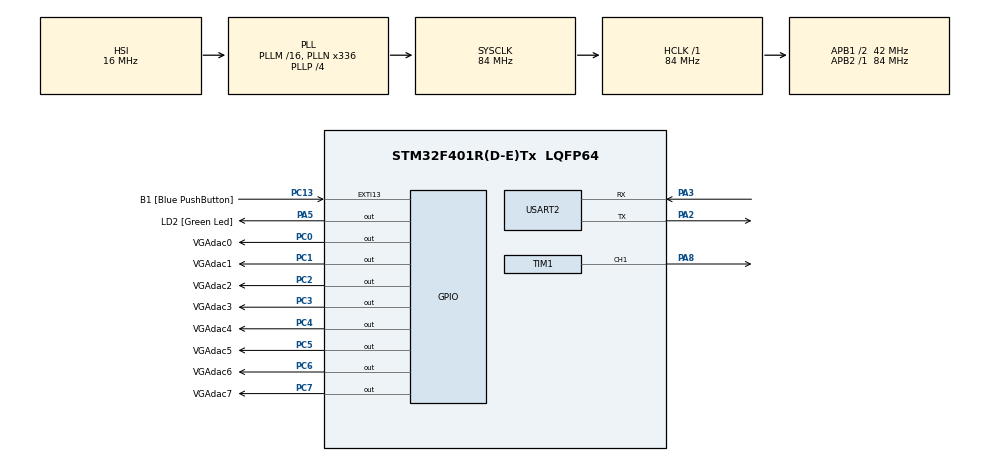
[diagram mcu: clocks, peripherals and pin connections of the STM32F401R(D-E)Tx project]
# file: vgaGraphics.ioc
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Dma.Request0=TIM1_UP
Dma.TIM1_UP.0.Direction=DMA_MEMORY_TO_PERIPH
Dma.TIM1_UP.0.FIFOMode=DMA_FIFOMODE_ENABLE
Dma.TIM1_UP.0.FIFOThreshold=DMA_FIFO_THRESHOLD_1QUARTERFULL
Dma.TIM1_UP.0.Instance=DMA2_Stream5
Dma.TIM1_UP.0.MemBurst=DMA_MBURST_SINGLE
Dma.TIM1_UP.0.MemDataAlignment=DMA_MDATAALIGN_WORD
Dma.TIM1_UP.0.MemInc=DMA_MINC_ENABLE
Dma.TIM1_UP.0.Mode=DMA_CIRCULAR
Dma.TIM1_UP.0.PeriphBurst=DMA_PBURST_SINGLE
Dma.TIM1_UP.0.PeriphDataAlignment=DMA_PDATAALIGN_BYTE
Dma.TIM1_UP.0.PeriphInc=DMA_PINC_DISABLE
Dma.TIM1_UP.0.Priority=DMA_PRIORITY_LOW
Mcu.Family=STM32F4
Mcu.Name=STM32F401R(D-E)Tx
Mcu.Package=LQFP64
NVIC.DMA2_Stream5_IRQn=true\:0\:0\:false\:false\:true\:false\:true\:true
NVIC.PriorityGroup=NVIC_PRIORITYGROUP_0
PA13.GPIO_Label=TMS
PA13.Mode=Serial_Wire
PA13.Signal=SYS_JTMS-SWDIO
PA14.GPIO_Label=TCK
PA14.Mode=Serial_Wire
PA14.Signal=SYS_JTCK-SWCLK
PA2.GPIO_Mode=GPIO_MODE_AF_PP
PA2.GPIO_ModeDefaultPP=GPIO_MODE_AF_PP
PA2.GPIO_PuPd=GPIO_NOPULL
PA2.GPIO_Speed=GPIO_SPEED_FREQ_VERY_HIGH
PA2.Mode=Asynchronous
PA2.Signal=USART2_TX
PA3.GPIO_Mode=GPIO_MODE_AF_PP
PA3.GPIO_ModeDefaultPP=GPIO_MODE_AF_PP
PA3.GPIO_PuPd=GPIO_NOPULL
PA3.GPIO_Speed=GPIO_SPEED_FREQ_VERY_HIGH
PA3.Mode=Asynchronous
PA3.Signal=USART2_RX
PA5.GPIO_Label=LD2 [Green Led]
PA5.GPIO_Mode=GPIO_MODE_OUTPUT_PP
PA5.GPIO_PuPd=GPIO_NOPULL
PA5.GPIO_Speed=GPIO_SPEED_FREQ_LOW
PA5.Signal=GPIO_Output
PA8.Signal=S_TIM1_CH1
PB3.GPIO_Label=SWO
PB3.Signal=SYS_JTDO-SWO
PC0.GPIO_Label=VGAdac0
PC0.GPIO_Speed=GPIO_SPEED_FREQ_VERY_HIGH
PC0.Signal=GPIO_Output
PC1.GPIO_Label=VGAdac1
PC1.GPIO_ModeDefaultOutputPP=GPIO_MODE_OUTPUT_PP
PC1.GPIO_PuPd=GPIO_NOPULL
PC1.GPIO_Speed=GPIO_SPEED_FREQ_VERY_HIGH
PC1.Signal=GPIO_Output
PC13-ANTI_TAMP.GPIO_Label=B1 [Blue PushButton]
PC13-ANTI_TAMP.GPIO_ModeDefaultEXTI=GPIO_MODE_IT_FALLING
PC13-ANTI_TAMP.GPIO_PuPd=GPIO_NOPULL
PC13-ANTI_TAMP.Signal=GPXTI13
PC14-OSC32_IN.Mode=LSE-External-Oscillator
PC14-OSC32_IN.Signal=RCC_OSC32_IN
PC15-OSC32_OUT.Mode=LSE-External-Oscillator
PC15-OSC32_OUT.Signal=RCC_OSC32_OUT
PC2.GPIO_Label=VGAdac2
PC2.GPIO_ModeDefaultOutputPP=GPIO_MODE_OUTPUT_PP
PC2.GPIO_PuPd=GPIO_NOPULL
PC2.GPIO_Speed=GPIO_SPEED_FREQ_VERY_HIGH
PC2.Signal=GPIO_Output
PC3.GPIO_Label=VGAdac3
PC3.GPIO_ModeDefaultOutputPP=GPIO_MODE_OUTPUT_PP
PC3.GPIO_PuPd=GPIO_NOPULL
PC3.GPIO_Speed=GPIO_SPEED_FREQ_VERY_HIGH
PC3.Signal=GPIO_Output
PC4.GPIO_Label=VGAdac4
PC4.GPIO_ModeDefaultOutputPP=GPIO_MODE_OUTPUT_PP
PC4.GPIO_PuPd=GPIO_NOPULL
PC4.GPIO_Speed=GPIO_SPEED_FREQ_VERY_HIGH
PC4.Signal=GPIO_Output
PC5.GPIO_Label=VGAdac5
PC5.GPIO_ModeDefaultOutputPP=GPIO_MODE_OUTPUT_PP
PC5.GPIO_PuPd=GPIO_NOPULL
PC5.GPIO_Speed=GPIO_SPEED_FREQ_VERY_HIGH
PC5.Signal=GPIO_Output
PC6.GPIO_Label=VGAdac6
PC6.GPIO_ModeDefaultOutputPP=GPIO_MODE_OUTPUT_PP
PC6.GPIO_PuPd=GPIO_NOPULL
PC6.GPIO_Speed=GPIO_SPEED_FREQ_VERY_HIGH
PC6.Signal=GPIO_Output
PC7.GPIO_Label=VGAdac7
PC7.GPIO_ModeDefaultOutputPP=GPIO_MODE_OUTPUT_PP
PC7.GPIO_PuPd=GPIO_NOPULL
PC7.GPIO_Speed=GPIO_SPEED_FREQ_VERY_HIGH
PC7.Signal=GPIO_Output
PH0\ -\ OSC_IN.Mode=HSE-External-Clock-Source
PH0\ -\ OSC_IN.Signal=RCC_OSC_IN
PH1\ -\ OSC_OUT.Mode=HSE-External-Clock-Source
PH1\ -\ OSC_OUT.Signal=RCC_OSC_OUT
ProjectManager.HeapSize=0x200
ProjectManager.StackSize=0x400
ProjectManager.TargetToolchain=STM32CubeIDE
RCC.48MHZClocksFreq_Value=48000000
RCC.AHBFreq_Value=84000000
RCC.APB1CLKDivider=RCC_HCLK_DIV2
RCC.APB1Freq_Value=42000000
RCC.APB1TimFreq_Value=84000000
RCC.APB2Freq_Value=84000000
RCC.APB2TimFreq_Value=84000000
RCC.CortexFreq_Value=84000000
RCC.HCLKFreq_Value=84000000
RCC.HSE_VALUE=8000000
RCC.HSI_VALUE=16000000
RCC.PLLN=336
RCC.PLLP=RCC_PLLP_DIV4
RCC.PLLQ=7
RCC.SYSCLKFreq_VALUE=84000000
RCC.SYSCLKSource=RCC_SYSCLKSOURCE_PLLCLK
RCC.VCOOutputFreq_Value=336000000
SH.S_TIM1_CH1.0=TIM1_CH1,Forced Output1 CH1
TIM1.AutoReloadPreload=TIM_AUTORELOAD_PRELOAD_ENABLE
TIM1.Channel-Forced\ Output1\ CH1=TIM_CHANNEL_1
USART2.VirtualMode=VM_ASYNC
VP_TIM1_VS_ClockSourceINT.Mode=Internal
board=NUCLEO-F401RE

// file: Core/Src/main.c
/* USER CODE BEGIN Header */
/**
  ******************************************************************************
  * @file           : main.c
  * @brief          : Main program body
  ******************************************************************************
  * @attention
  *
  * Copyright (c) 2022 STMicroelectronics.
  * All rights reserved.
  *
  * This software is licensed under terms that can be found in the LICENSE file
  * in the root directory of this software component.
  * If no LICENSE file comes with this software, it is provided AS-IS.
  *
  ******************************************************************************
  */
/* USER CODE END Header */
#include "main.h"

/* USER CODE BEGIN Includes */
#include "vga.h"
#include <stdio.h>
#include "codepage-437-bmp.h"
/* USER CODE END Includes */

 TIM_HandleTypeDef htim1;
DMA_HandleTypeDef hdma_tim1_up;

UART_HandleTypeDef huart2;

void SystemClock_Config(void);
static void MX_GPIO_Init(void);
static void MX_USART2_UART_Init(void);
static void MX_DMA_Init(void);
static void MX_TIM1_Init(void);

/* USER CODE BEGIN 0 */

char str[81] = { '\0' };
uint16_t str_len = 0;

void dumpLine(){

	for(int i = 0; i < 40; i++){
		int tmp = screenBuff[i].value;
		str_len = sprintf(str, "%02x ", tmp);
		HAL_UART_Transmit(&huart2, (uint8_t*) str, str_len, HAL_MAX_DELAY);
	}
	str_len = sprintf(str, "\r\n");
	HAL_UART_Transmit(&huart2, (uint8_t*) str, str_len, HAL_MAX_DELAY);
}

int printStatus(HAL_StatusTypeDef status){
	/*
	typedef enum
	{
	  HAL_OK       = 0x00U,
	  HAL_ERROR    = 0x01U,
	  HAL_BUSY     = 0x02U,
	  HAL_TIMEOUT  = 0x03U
	} HAL_StatusTypeDef;//*/
	switch(status){
	case HAL_OK:str_len = sprintf(str, "HAL_OK\r\n");break;
	case HAL_ERROR:str_len = sprintf(str, "HAL_ERROR\r\n");break;
	case HAL_BUSY:str_len = sprintf(str, "HAL_BUSY\r\n");break;
	case HAL_TIMEOUT:str_len = sprintf(str, "HAL_TIMEOUT\r\n");break;
	default:str_len = sprintf(str, "HAL_Unknown\r\n");break;
	}
	HAL_UART_Transmit(&huart2, (uint8_t*) str, str_len, HAL_MAX_DELAY);
	return status != HAL_OK;

}

int printState(HAL_DMA_StateTypeDef state){
  //HAL_DMA_STATE_RESET             = 0x00U,  /*!< DMA not yet initialized or disabled */
  //HAL_DMA_STATE_READY             = 0x01U,  /*!< DMA initialized and ready for use   */
  //HAL_DMA_STATE_BUSY              = 0x02U,  /*!< DMA process is ongoing              */
  //HAL_DMA_STATE_TIMEOUT           = 0x03U,  /*!< DMA timeout state                   */
  //HAL_DMA_STATE_ERROR             = 0x04U,  /*!< DMA error state                     */
  //HAL_DMA_STATE_ABORT             = 0x05U,  /*!< DMA Abort state                     */
//}HAL_DMA_StateTypeDef;
	switch(state){
	case HAL_DMA_STATE_RESET:str_len = sprintf(str, "DMA not yet initialized or disabled\r\n");break;
	case HAL_DMA_STATE_READY:str_len = sprintf(str, "DMA initialized and ready for use\r\n");break;
	case HAL_DMA_STATE_BUSY:str_len = sprintf(str, "DMA process is ongoing\r\n");break;
	case HAL_DMA_STATE_TIMEOUT:str_len = sprintf(str, "DMA timeout state\r\n");break;
	case HAL_DMA_STATE_ERROR:str_len = sprintf(str, "DMA error state\r\n");break;
	case HAL_DMA_STATE_ABORT:str_len = sprintf(str, "DMA Abort state\r\n");break;
	default:str_len = sprintf(str, "DMA_Unknown\r\n");break;

	}
	HAL_UART_Transmit(&huart2, (uint8_t*) str, str_len, HAL_MAX_DELAY);
	return state != HAL_DMA_STATE_READY;
}

/* USER CODE END 0 */

int main(void)
{

  /* MCU Configuration--------------------------------------------------------*/

  /* Reset of all peripherals, Initializes the Flash interface and the Systick. */
  HAL_Init();

  /* USER CODE BEGIN Init */
  GPIOC->ODR; // first 8 bits are GPIOC 0-7
  /* USER CODE END Init */

  /* Configure the system clock */
  SystemClock_Config();

  /* Initialize all configured peripherals */
  MX_GPIO_Init();
  MX_USART2_UART_Init();
  MX_DMA_Init();
  MX_TIM1_Init();
  /* USER CODE BEGIN 2 */

  char str[81] = { '\0' };
  uint16_t str_len = 0;
  str_len = sprintf(str, "Starting up!\r\n");
  HAL_UART_Transmit(&huart2, (uint8_t*) str, str_len, HAL_MAX_DELAY);

  vgaSetup();
  registerDebugInterupts(&huart2);

  for(int i = 0; i < vertRes; i++){
	  for(int j = 0; j < horiRes; j++){
		  screenBuff[i*vertRes + j].value = j & 0b111111;
	  }
  }

  dumpLine();
  printState(HAL_DMA_GetState(&memcopyDMA));

  str_len = sprintf(str, "\r\n\r\n");
  HAL_UART_Transmit(&huart2, (uint8_t*) str, str_len, HAL_MAX_DELAY);

  printStatus(memSet(0, &screenBuff[0], 2));//testingMemset
  printState(HAL_DMA_GetState(&memcopyDMA));
  dumpLine();
  while(printStatus(HAL_DMA_PollForTransfer(&memcopyDMA, HAL_DMA_FULL_TRANSFER, 100))){HAL_Delay(1000);};

  str_len = sprintf(str, "\r\n\r\n");
  HAL_UART_Transmit(&huart2, (uint8_t*) str, str_len, HAL_MAX_DELAY);

  if (HAL_DMA_Init(&memcopyDMA) != HAL_OK) {
	  Error_Handler();
  }
  printStatus(memCopy(&screenBuff[8], &screenBuff[0], 2));//testingMemcopy
  printState(HAL_DMA_GetState(&memcopyDMA));
  dumpLine();
  while(printStatus(HAL_DMA_PollForTransfer(&memcopyDMA, HAL_DMA_FULL_TRANSFER, 100))){HAL_Delay(1000);};

  str_len = sprintf(str, "\r\n\r\n");
  HAL_UART_Transmit(&huart2, (uint8_t*) str, str_len, HAL_MAX_DELAY);

  if (HAL_DMA_Init(&memcopyDMA) != HAL_OK) {
	  Error_Handler();
  }
  printStatus(memSet(0xff, &screenBuff[0], 2));//testingMemset
  printState(HAL_DMA_GetState(&memcopyDMA));
  dumpLine();
  while(printStatus(HAL_DMA_PollForTransfer(&memcopyDMA, HAL_DMA_FULL_TRANSFER, 100))){HAL_Delay(1000);};

  str_len = sprintf(str, "\r\n\r\n");
  HAL_UART_Transmit(&huart2, (uint8_t*) str, str_len, HAL_MAX_DELAY);
  /* USER CODE END 2 */

  /* Infinite loop */
  /* USER CODE BEGIN WHILE */
  vgaStart();
  while (1)
  {
    /* USER CODE END WHILE */

  }
}

void SystemClock_Config(void)
{
  RCC_OscInitTypeDef RCC_OscInitStruct = {0};
  RCC_ClkInitTypeDef RCC_ClkInitStruct = {0};

  /** Configure the main internal regulator output voltage
  */
  __HAL_RCC_PWR_CLK_ENABLE();
  __HAL_PWR_VOLTAGESCALING_CONFIG(PWR_REGULATOR_VOLTAGE_SCALE2);

  /** Initializes the RCC Oscillators according to the specified parameters
  * in the RCC_OscInitTypeDef structure.
  */
  RCC_OscInitStruct.OscillatorType = RCC_OSCILLATORTYPE_HSI;
  RCC_OscInitStruct.HSIState = RCC_HSI_ON;
  RCC_OscInitStruct.HSICalibrationValue = RCC_HSICALIBRATION_DEFAULT;
  RCC_OscInitStruct.PLL.PLLState = RCC_PLL_ON;
  RCC_OscInitStruct.PLL.PLLSource = RCC_PLLSOURCE_HSI;
  RCC_OscInitStruct.PLL.PLLM = 16;
  RCC_OscInitStruct.PLL.PLLN = 336;
  RCC_OscInitStruct.PLL.PLLP = RCC_PLLP_DIV4;
  RCC_OscInitStruct.PLL.PLLQ = 7;
  if (HAL_RCC_OscConfig(&RCC_OscInitStruct) != HAL_OK)
  {
    Error_Handler();
  }

  /** Initializes the CPU, AHB and APB buses clocks
  */
  RCC_ClkInitStruct.ClockType = RCC_CLOCKTYPE_HCLK|RCC_CLOCKTYPE_SYSCLK
                              |RCC_CLOCKTYPE_PCLK1|RCC_CLOCKTYPE_PCLK2;
  RCC_ClkInitStruct.SYSCLKSource = RCC_SYSCLKSOURCE_PLLCLK;
  RCC_ClkInitStruct.AHBCLKDivider = RCC_SYSCLK_DIV1;
  RCC_ClkInitStruct.APB1CLKDivider = RCC_HCLK_DIV2;
  RCC_ClkInitStruct.APB2CLKDivider = RCC_HCLK_DIV1;

  if (HAL_RCC_ClockConfig(&RCC_ClkInitStruct, FLASH_LATENCY_2) != HAL_OK)
  {
    Error_Handler();
  }
}

static void MX_TIM1_Init(void)
{

  TIM_ClockConfigTypeDef sClockSourceConfig = {0};
  TIM_MasterConfigTypeDef sMasterConfig = {0};
  TIM_OC_InitTypeDef sConfigOC = {0};
  TIM_BreakDeadTimeConfigTypeDef sBreakDeadTimeConfig = {0};

  htim1.Instance = TIM1;
  htim1.Init.Prescaler = 0;
  htim1.Init.CounterMode = TIM_COUNTERMODE_UP;
  htim1.Init.Period = 65535;
  htim1.Init.ClockDivision = TIM_CLOCKDIVISION_DIV1;
  htim1.Init.RepetitionCounter = 0;
  htim1.Init.AutoReloadPreload = TIM_AUTORELOAD_PRELOAD_ENABLE;
  if (HAL_TIM_Base_Init(&htim1) != HAL_OK)
  {
    Error_Handler();
  }
  sClockSourceConfig.ClockSource = TIM_CLOCKSOURCE_INTERNAL;
  if (HAL_TIM_ConfigClockSource(&htim1, &sClockSourceConfig) != HAL_OK)
  {
    Error_Handler();
  }
  if (HAL_TIM_OC_Init(&htim1) != HAL_OK)
  {
    Error_Handler();
  }
  sMasterConfig.MasterOutputTrigger = TIM_TRGO_RESET;
  sMasterConfig.MasterSlaveMode = TIM_MASTERSLAVEMODE_DISABLE;
  if (HAL_TIMEx_MasterConfigSynchronization(&htim1, &sMasterConfig) != HAL_OK)
  {
    Error_Handler();
  }
  sConfigOC.OCMode = TIM_OCMODE_FORCED_ACTIVE;
  sConfigOC.Pulse = 0;
  sConfigOC.OCPolarity = TIM_OCPOLARITY_HIGH;
  sConfigOC.OCNPolarity = TIM_OCNPOLARITY_HIGH;
  sConfigOC.OCFastMode = TIM_OCFAST_DISABLE;
  sConfigOC.OCIdleState = TIM_OCIDLESTATE_RESET;
  sConfigOC.OCNIdleState = TIM_OCNIDLESTATE_RESET;
  if (HAL_TIM_OC_ConfigChannel(&htim1, &sConfigOC, TIM_CHANNEL_1) != HAL_OK)
  {
    Error_Handler();
  }
  sBreakDeadTimeConfig.OffStateRunMode = TIM_OSSR_DISABLE;
  sBreakDeadTimeConfig.OffStateIDLEMode = TIM_OSSI_DISABLE;
  sBreakDeadTimeConfig.LockLevel = TIM_LOCKLEVEL_OFF;
  sBreakDeadTimeConfig.DeadTime = 0;
  sBreakDeadTimeConfig.BreakState = TIM_BREAK_DISABLE;
  sBreakDeadTimeConfig.BreakPolarity = TIM_BREAKPOLARITY_HIGH;
  sBreakDeadTimeConfig.AutomaticOutput = TIM_AUTOMATICOUTPUT_DISABLE;
  if (HAL_TIMEx_ConfigBreakDeadTime(&htim1, &sBreakDeadTimeConfig) != HAL_OK)
  {
    Error_Handler();
  }
  HAL_TIM_MspPostInit(&htim1);

}

static void MX_USART2_UART_Init(void)
{

  huart2.Instance = USART2;
  huart2.Init.BaudRate = 115200;
  huart2.Init.WordLength = UART_WORDLENGTH_8B;
  huart2.Init.StopBits = UART_STOPBITS_1;
  huart2.Init.Parity = UART_PARITY_NONE;
  huart2.Init.Mode = UART_MODE_TX_RX;
  huart2.Init.HwFlowCtl = UART_HWCONTROL_NONE;
  huart2.Init.OverSampling = UART_OVERSAMPLING_16;
  if (HAL_UART_Init(&huart2) != HAL_OK)
  {
    Error_Handler();
  }

}

static void MX_DMA_Init(void)
{

  /* DMA controller clock enable */
  __HAL_RCC_DMA2_CLK_ENABLE();

  /* DMA interrupt init */
  /* DMA2_Stream5_IRQn interrupt configuration */
  HAL_NVIC_SetPriority(DMA2_Stream5_IRQn, 0, 0);
  HAL_NVIC_EnableIRQ(DMA2_Stream5_IRQn);

}

static void MX_GPIO_Init(void)
{
  GPIO_InitTypeDef GPIO_InitStruct = {0};

  /* GPIO Ports Clock Enable */
  __HAL_RCC_GPIOC_CLK_ENABLE();
  __HAL_RCC_GPIOH_CLK_ENABLE();
  __HAL_RCC_GPIOA_CLK_ENABLE();
  __HAL_RCC_GPIOB_CLK_ENABLE();

  /*Configure GPIO pin Output Level */
  HAL_GPIO_WritePin(GPIOC, VGAdac0_Pin|VGAdac1_Pin|VGAdac2_Pin|VGAdac3_Pin
                          |VGAdac4_Pin|VGAdac5_Pin|VGAdac6_Pin|VGAdac7_Pin, GPIO_PIN_RESET);

  /*Configure GPIO pin Output Level */
  HAL_GPIO_WritePin(LD2_GPIO_Port, LD2_Pin, GPIO_PIN_RESET);

  /*Configure GPIO pin : B1_Pin */
  GPIO_InitStruct.Pin = B1_Pin;
  GPIO_InitStruct.Mode = GPIO_MODE_IT_FALLING;
  GPIO_InitStruct.Pull = GPIO_NOPULL;
  HAL_GPIO_Init(B1_GPIO_Port, &GPIO_InitStruct);

  /*Configure GPIO pins : VGAdac0_Pin VGAdac1_Pin VGAdac2_Pin VGAdac3_Pin
                           VGAdac4_Pin VGAdac5_Pin VGAdac6_Pin VGAdac7_Pin */
  GPIO_InitStruct.Pin = VGAdac0_Pin|VGAdac1_Pin|VGAdac2_Pin|VGAdac3_Pin
                          |VGAdac4_Pin|VGAdac5_Pin|VGAdac6_Pin|VGAdac7_Pin;
  GPIO_InitStruct.Mode = GPIO_MODE_OUTPUT_PP;
  GPIO_InitStruct.Pull = GPIO_NOPULL;
  GPIO_InitStruct.Speed = GPIO_SPEED_FREQ_VERY_HIGH;
  HAL_GPIO_Init(GPIOC, &GPIO_InitStruct);

  /*Configure GPIO pin : LD2_Pin */
  GPIO_InitStruct.Pin = LD2_Pin;
  GPIO_InitStruct.Mode = GPIO_MODE_OUTPUT_PP;
  GPIO_InitStruct.Pull = GPIO_NOPULL;
  GPIO_InitStruct.Speed = GPIO_SPEED_FREQ_LOW;
  HAL_GPIO_Init(LD2_GPIO_Port, &GPIO_InitStruct);

}

void Error_Handler(void)
{
  __disable_irq();
  while (1)
  {
  }
}
